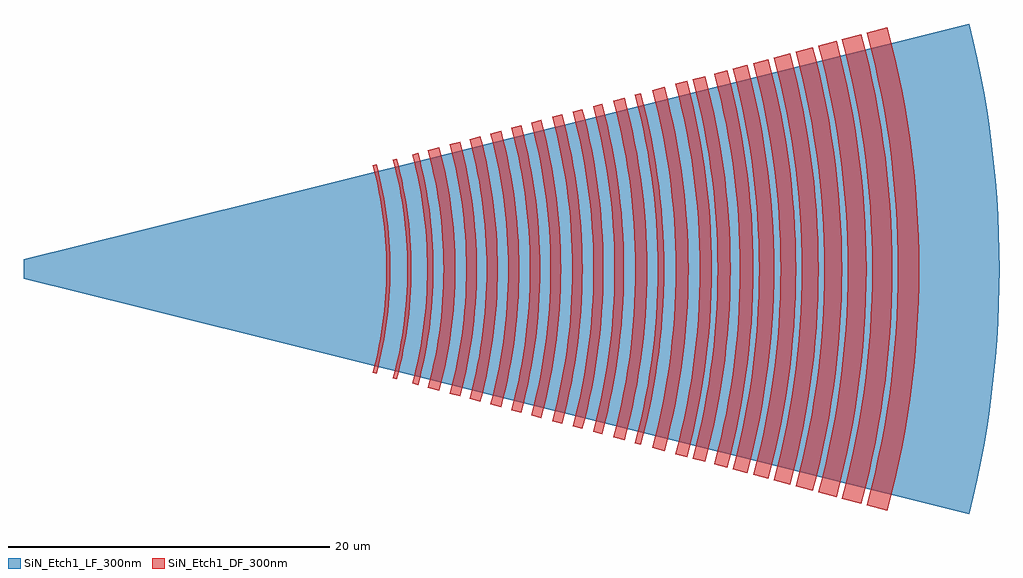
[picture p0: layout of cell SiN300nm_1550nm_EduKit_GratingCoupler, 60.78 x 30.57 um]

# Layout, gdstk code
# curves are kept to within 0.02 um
import gdstk
lib = gdstk.Library(unit=1e-6, precision=1e-09)
def P(c, l, *ps):  # polygons
    for p in ps: c.add(gdstk.Polygon(p, *l))
SiN_Etch1_LF_300nm = (203, 0)
SiN_Etch1_DF_300nm = (204, 0)

sin300nm_1550nm_edukit_g = lib.new_cell('SiN300nm_1550nm_EduKit_GratingCoupler')
P(sin300nm_1550nm_edukit_g, SiN_Etch1_LF_300nm, [(58.905,-15.287),(0,-0.6),(0,0.6),(58.905,15.287),(59.621,12.057),(60.004,9.885),(60.311,7.701),(60.628,4.408),(60.744,2.205),(60.782,0),(60.744,-2.205),(60.628,-4.408),(60.311,-7.701),(60.004,-9.885),(59.621,-12.057)])
P(sin300nm_1550nm_edukit_g, SiN_Etch1_DF_300nm, [(21.984,-6.533),(21.742,-6.47),(22.135,-4.77),(22.408,-3.047),(22.56,-1.308),(22.594,0),(22.56,1.308),(22.408,3.047),(22.135,4.77),(21.742,6.47),(21.984,6.533),(22.293,5.25),(22.599,3.514),(22.782,1.761),(22.844,0),(22.782,-1.761),(22.599,-3.514),(22.293,-5.25)],
  [(23.249,-6.872),(23.006,-6.809),(23.419,-5.02),(23.706,-3.206),(23.838,-1.835),(23.902,0),(23.866,1.377),(23.706,3.206),(23.419,5.02),(23.006,6.809),(23.249,6.872),(23.573,5.522),(23.895,3.696),(24.088,1.852),(24.153,0),(24.088,-1.852),(23.895,-3.696),(23.573,-5.522)],
  [(24.577,-7.227),(24.204,-7.13),(24.637,-5.257),(24.938,-3.357),(25.076,-1.922),(25.143,0),(25.076,1.922),(24.938,3.357),(24.637,5.257),(24.204,7.13),(24.577,7.227),(25.015,5.33),(25.32,3.404),(25.46,1.949),(25.528,0),(25.46,-1.949),(25.32,-3.404),(25.015,-5.33)],
  [(25.899,-7.578),(25.184,-7.393),(25.533,-5.939),(25.879,-3.975),(26.087,-1.992),(26.157,0),(26.087,1.992),(25.879,3.975),(25.533,5.939),(25.184,7.393),(25.899,7.578),(26.256,6.092),(26.611,4.078),(26.824,2.044),(26.896,0),(26.824,-2.044),(26.611,-4.078),(26.256,-6.092)],
  [(27.191,-7.924),(26.551,-7.759),(26.917,-6.233),(27.203,-4.69),(27.408,-3.134),(27.554,-1.046),(27.554,1.046),(27.458,2.613),(27.349,3.653),(27.021,5.72),(26.551,7.759),(27.191,7.924),(27.67,5.846),(28.005,3.734),(28.191,1.604),(28.233,0),(28.191,-1.604),(28.005,-3.734),(27.67,-5.846)],
  [(28.449,-8.262),(27.78,-8.088),(28.271,-5.963),(28.541,-4.349),(28.726,-2.724),(28.826,-1.091),(28.826,1.091),(28.674,3.267),(28.541,4.349),(28.271,5.963),(27.78,8.088),(28.449,8.262),(28.949,6.095),(29.298,3.893),(29.492,1.672),(29.536,0),(29.492,-1.672),(29.298,-3.893),(28.949,-6.095)],
  [(29.742,-8.608),(29.074,-8.435),(29.473,-6.776),(29.784,-5.098),(30.061,-2.84),(30.165,-1.137),(30.165,1.137),(30.106,2.273),(29.942,3.972),(29.784,5.098),(29.586,6.219),(29.35,7.331),(29.074,8.435),(29.742,8.608),(30.022,7.486),(30.263,6.351),(30.466,5.206),(30.627,4.056),(30.794,2.321),(30.855,1.161),(30.875,0),(30.855,-1.161),(30.794,-2.321),(30.627,-4.056),(30.466,-5.206),(30.263,-6.351),(30.022,-7.486)],
  [(30.999,-8.946),(30.384,-8.786),(30.799,-7.058),(31.025,-5.895),(31.211,-4.725),(31.412,-2.959),(31.52,-1.185),(31.541,0),(31.52,1.185),(31.412,2.959),(31.288,4.137),(31.123,5.31),(30.917,6.477),(30.671,7.636),(30.384,8.786),(30.999,8.946),(31.42,7.19),(31.65,6.005),(31.84,4.813),(31.987,3.614),(32.092,2.412),(32.155,1.207),(32.176,0),(32.155,-1.207),(32.092,-2.412),(31.987,-3.614),(31.84,-4.813),(31.65,-6.005),(31.42,-7.19)],
  [(32.254,-9.281),(31.615,-9.116),(31.912,-7.923),(32.168,-6.72),(32.472,-4.902),(32.681,-3.07),(32.794,-1.229),(32.815,0),(32.794,1.229),(32.729,2.457),(32.622,3.682),(32.472,4.902),(32.28,6.116),(32.045,7.323),(31.615,9.116),(32.254,9.281),(32.555,8.071),(32.816,6.846),(33.126,4.994),(33.278,3.751),(33.387,2.503),(33.454,1.252),(33.475,0),(33.454,-1.252),(33.387,-2.503),(33.278,-3.751),(33.126,-4.994),(32.816,-6.846),(32.555,-8.071)],
  [(33.55,-9.628),(32.929,-9.468),(33.376,-7.606),(33.619,-6.352),(33.819,-5.091),(33.975,-3.824),(34.086,-2.552),(34.153,-1.277),(34.175,0),(34.153,1.277),(34.086,2.552),(33.975,3.824),(33.819,5.091),(33.619,6.352),(33.376,7.606),(32.929,9.468),(33.55,9.628),(34.003,7.74),(34.25,6.463),(34.454,5.18),(34.612,3.891),(34.725,2.597),(34.794,1.299),(34.816,0),(34.794,-1.299),(34.725,-2.597),(34.612,-3.891),(34.454,-5.18),(34.25,-6.463),(34.003,-7.74)],
  [(34.805,-9.964),(34.2,-9.808),(34.52,-8.525),(34.795,-7.231),(35.024,-5.928),(35.209,-4.618),(35.399,-2.644),(35.468,-1.323),(35.491,0),(35.468,1.323),(35.399,2.644),(35.209,4.618),(35.024,5.928),(34.795,7.231),(34.52,8.525),(34.2,9.808),(34.805,9.964),(35.129,8.666),(35.409,7.35),(35.641,6.026),(35.829,4.694),(36.023,2.687),(36.093,1.345),(36.116,0),(36.093,-1.345),(36.023,-2.687),(35.829,-4.694),(35.641,-6.026),(35.409,-7.35),(35.129,-8.666)],
  [(36.039,-10.296),(35.467,-10.148),(35.798,-8.82),(36.083,-7.481),(36.32,-6.134),(36.511,-4.778),(36.654,-3.417),(36.749,-2.052),(36.803,0),(36.749,2.052),(36.654,3.417),(36.511,4.778),(36.32,6.134),(36.083,7.481),(35.798,8.82),(35.467,10.148),(36.039,10.296),(36.374,8.953),(36.663,7.594),(36.904,6.226),(37.098,4.85),(37.297,2.776),(37.37,1.389),(37.394,0),(37.37,-1.389),(37.297,-2.776),(37.098,-4.85),(36.904,-6.226),(36.663,-7.594),(36.374,-8.953)],
  [(37.435,-10.668),(36.726,-10.485),(37.068,-9.113),(37.362,-7.73),(37.712,-5.638),(37.952,-3.531),(38.081,-1.414),(38.106,0),(38.081,1.414),(38.007,2.826),(37.884,4.235),(37.712,5.638),(37.491,7.035),(37.221,8.423),(36.726,10.485),(37.435,10.668),(37.781,9.278),(38.081,7.87),(38.33,6.451),(38.531,5.026),(38.681,3.595),(38.781,2.158),(38.838,0),(38.781,-2.158),(38.681,-3.595),(38.531,-5.026),(38.33,-6.451),(38.081,-7.87),(37.781,-9.278)],
  [(38.454,-10.945),(38.072,-10.846),(38.426,-9.427),(38.73,-7.996),(38.984,-6.556),(39.188,-5.107),(39.341,-3.652),(39.443,-2.193),(39.5,0),(39.443,2.193),(39.341,3.652),(39.188,5.107),(38.984,6.556),(38.73,7.996),(38.426,9.427),(38.072,10.846),(38.454,10.945),(38.811,9.516),(39.118,8.071),(39.374,6.618),(39.58,5.155),(39.792,2.951),(39.869,1.476),(39.895,0),(39.869,-1.476),(39.792,-2.951),(39.58,-5.155),(39.374,-6.618),(39.118,-8.071),(38.811,-9.516)],
  [(39.923,-11.335),(39.153,-11.136),(39.679,-8.945),(40.089,-6.731),(40.383,-4.497),(40.514,-3.001),(40.593,-1.502),(40.619,0),(40.593,1.502),(40.455,3.75),(40.298,5.243),(40.089,6.731),(39.829,8.21),(39.516,9.679),(39.153,11.136),(39.923,11.335),(40.291,9.858),(40.609,8.361),(40.874,6.855),(41.087,5.34),(41.247,3.819),(41.354,2.294),(41.414,0),(41.354,-2.294),(41.247,-3.819),(41.087,-5.34),(40.874,-6.855),(40.609,-8.361),(40.291,-9.858)],
  [(41.326,-11.711),(40.602,-11.524),(40.978,-10.016),(41.301,-8.496),(41.686,-6.197),(41.875,-4.654),(42.011,-3.106),(42.092,-1.554),(42.119,0),(42.092,1.554),(42.011,3.106),(41.875,4.654),(41.686,6.197),(41.301,8.496),(40.978,10.016),(40.602,11.524),(41.326,11.711),(41.878,9.412),(42.18,7.862),(42.427,6.301),(42.619,4.732),(42.757,3.158),(42.84,1.58),(42.867,0),(42.84,-1.58),(42.757,-3.158),(42.619,-4.732),(42.427,-6.301),(42.18,-7.862),(41.878,-9.412)],
  [(42.453,-12.013),(41.669,-11.81),(42.055,-10.265),(42.386,-8.707),(42.78,-6.35),(43.05,-3.977),(43.196,-1.592),(43.224,0),(43.196,1.592),(43.113,3.183),(42.884,5.561),(42.662,7.138),(42.386,8.707),(42.055,10.265),(41.669,11.81),(42.453,12.013),(42.844,10.447),(43.181,8.862),(43.462,7.265),(43.688,5.66),(43.921,3.239),(44.006,1.62),(44.034,0),(44.006,-1.62),(43.921,-3.239),(43.688,-5.66),(43.462,-7.265),(43.181,-8.862),(42.844,-10.447)],
  [(43.828,-12.38),(43.012,-12.17),(43.587,-9.776),(44.035,-7.356),(44.264,-5.73),(44.435,-4.098),(44.585,-1.641),(44.607,0.821),(44.55,2.461),(44.435,4.098),(44.264,5.73),(44.035,7.356),(43.75,8.972),(43.409,10.577),(43.012,12.17),(43.828,12.38),(44.23,10.767),(44.578,9.133),(44.868,7.488),(45.101,5.833),(45.275,4.171),(45.392,2.505),(45.457,0),(45.392,-2.505),(45.275,-4.171),(45.101,-5.833),(44.868,-7.488),(44.578,-9.133),(44.23,-10.767)],
  [(45.073,-12.714),(44.164,-12.478),(44.571,-10.846),(44.921,-9.199),(45.338,-6.71),(45.624,-4.202),(45.778,-1.683),(45.807,0),(45.778,1.683),(45.624,4.202),(45.448,5.876),(45.213,7.542),(44.921,9.199),(44.571,10.846),(44.164,12.478),(45.073,12.714),(45.486,11.057),(45.843,9.379),(46.14,7.689),(46.38,5.99),(46.627,3.428),(46.716,1.716),(46.746,0),(46.716,-1.716),(46.627,-3.428),(46.38,-5.99),(46.14,-7.689),(45.843,-9.379),(45.486,-11.057)],
  [(46.394,-13.066),(45.459,-12.825),(45.877,-11.147),(46.237,-9.455),(46.665,-6.896),(46.958,-4.319),(47.117,-1.729),(47.147,0),(47.117,1.729),(47.026,3.457),(46.876,5.18),(46.665,6.896),(46.237,9.455),(45.877,11.147),(45.459,12.825),(46.394,13.066),(46.818,11.364),(47.185,9.639),(47.491,7.903),(47.737,6.157),(47.92,4.403),(48.044,2.644),(48.113,0),(48.044,-2.644),(47.92,-4.403),(47.737,-6.157),(47.491,-7.903),(47.185,-9.639),(46.818,-11.364)],
  [(47.75,-13.429),(46.73,-13.166),(47.351,-10.576),(47.837,-7.958),(48.084,-6.199),(48.269,-4.434),(48.432,-1.775),(48.463,0),(48.432,1.775),(48.339,3.548),(48.084,6.199),(47.837,7.958),(47.528,9.706),(47.159,11.443),(46.73,13.166),(47.75,13.429),(48.185,11.68),(48.562,9.907),(49.011,7.226),(49.231,5.427),(49.389,3.622),(49.484,1.812),(49.516,0),(49.484,-1.812),(49.389,-3.622),(49.231,-5.427),(49.011,-7.226),(48.562,-9.907),(48.185,-11.68)],
  [(49.16,-13.807),(48.091,-13.531),(48.532,-11.76),(48.912,-9.975),(49.363,-7.276),(49.673,-4.556),(49.84,-1.824),(49.872,0),(49.84,1.824),(49.745,3.647),(49.586,5.465),(49.363,7.276),(48.912,9.975),(48.532,11.76),(48.091,13.531),(49.16,13.807),(49.608,12.009),(49.996,10.186),(50.318,8.35),(50.578,6.506),(50.773,4.652),(50.903,2.793),(50.976,0),(50.903,-2.793),(50.773,-4.652),(50.578,-6.506),(50.318,-8.35),(49.996,-10.186),(49.608,-12.009)],
  [(50.634,-14.201),(49.497,-13.907),(49.951,-12.088),(50.341,-10.253),(50.805,-7.478),(51.124,-4.683),(51.295,-1.875),(51.328,0),(51.295,1.875),(51.197,3.748),(51.034,5.617),(50.805,7.478),(50.512,9.331),(49.951,12.088),(49.497,13.907),(50.634,14.201),(51.095,12.352),(51.493,10.477),(51.968,7.641),(52.202,5.74),(52.368,3.829),(52.468,1.916),(52.502,0),(52.468,-1.916),(52.368,-3.829),(52.202,-5.74),(51.968,-7.641),(51.493,-10.477),(51.095,-12.352)],
  [(52.181,-14.616),(50.971,-14.302),(51.646,-11.489),(52.174,-8.645),(52.442,-6.734),(52.644,-4.816),(52.82,-1.929),(52.846,0.964),(52.778,2.892),(52.644,4.816),(52.442,6.734),(52.174,8.645),(51.839,10.544),(51.438,12.431),(50.971,14.302),(52.181,14.616),(52.656,12.712),(53.066,10.783),(53.409,8.841),(53.683,6.886),(53.966,3.942),(54.069,1.973),(54.104,0),(54.069,-1.973),(53.966,-3.942),(53.683,-6.886),(53.409,-8.841),(53.066,-10.783),(52.656,-12.712)],
  [(53.803,-15.049),(52.518,-14.717),(52.998,-12.791),(53.41,-10.85),(53.902,-7.914),(54.239,-4.956),(54.42,-1.984),(54.455,0),(54.42,1.984),(54.316,3.966),(54.144,5.944),(53.902,7.914),(53.591,9.874),(52.998,12.791),(52.518,14.717),(53.803,15.049),(54.291,13.089),(54.713,11.103),(55.216,8.099),(55.464,6.083),(55.64,4.058),(55.746,2.03),(55.782,0),(55.746,-2.03),(55.64,-4.058),(55.464,-6.083),(55.216,-8.099),(54.713,-11.103),(54.291,-13.089)])

lib.write_gds('SiN300nm_1550nm_EduKit_GratingCoupler.gds')
